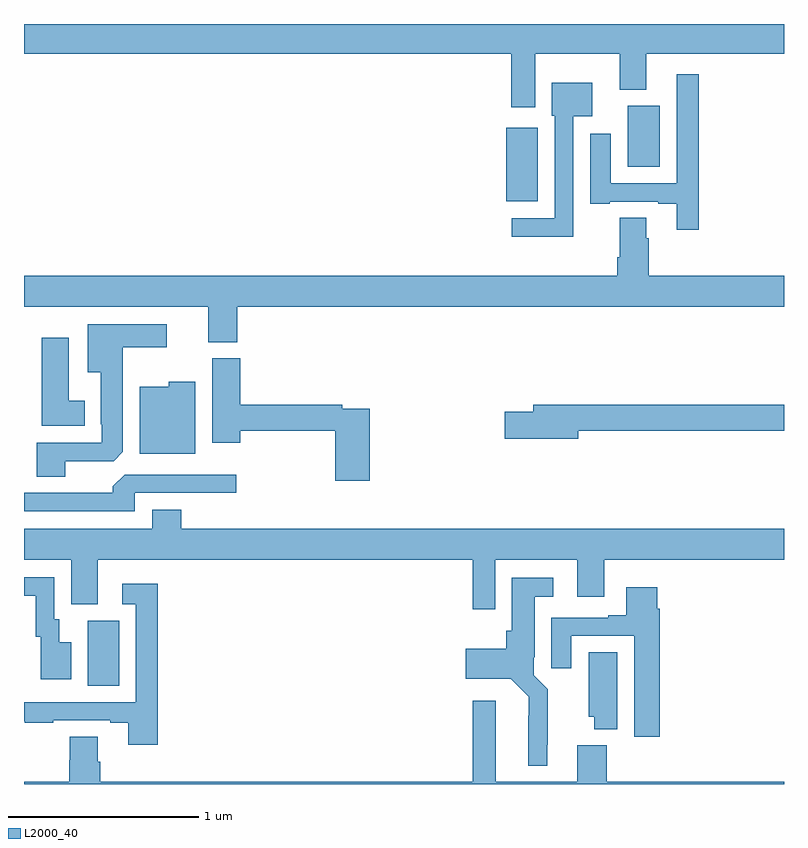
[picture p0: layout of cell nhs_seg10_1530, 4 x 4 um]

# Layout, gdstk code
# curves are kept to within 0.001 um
import gdstk
lib = gdstk.Library(unit=1e-6, precision=1e-09)
def R(c, l, rs):  # rectangles x0, y0, x1, y1
    for r in rs: c.add(gdstk.rectangle(r[:2], r[2:], *l))
def P(c, l, *ps):  # polygons
    for p in ps: c.add(gdstk.Polygon(p, *l))
L2000_40 = (2000, 40)

nhs_seg10_1530 = lib.new_cell('nhs_seg10_1530')
R(nhs_seg10_1530, L2000_40, [(191.336,1269.016,191.5,1269.36), (193.538,1271.567,193.705,1271.953), (194.177,1271.75,194.347,1272.07)])
P(nhs_seg10_1530, L2000_40, [(191,1272.344),(193.565,1272.344),(193.565,1272.063),(193.69,1272.063),(193.69,1272.344),(194.135,1272.344),(194.135,1272.155),(194.275,1272.155),(194.275,1272.344),(195,1272.344),(195,1272.5),(191,1272.5)],
  [(194.552,1272.235),(194.436,1272.235),(194.436,1271.661),(194.089,1271.661),(194.089,1271.923),(193.979,1271.923),(193.979,1271.553),(194.083,1271.553),(194.083,1271.565),(194.339,1271.565),(194.339,1271.553),(194.435,1271.553),(194.435,1271.418),(194.552,1271.418)],
  [(193.89,1272.014),(193.99,1272.014),(193.99,1272.19),(193.778,1272.19),(193.778,1272.018),(193.794,1272.018),(193.794,1271.478),(193.566,1271.478),(193.566,1271.381),(193.89,1271.381)],
  [(192.122,1271.012),(195,1271.012),(195,1271.176),(194.288,1271.176),(194.288,1271.372),(194.275,1271.372),(194.275,1271.48),(194.135,1271.48),(194.135,1271.272),(194.123,1271.272),(194.123,1271.176),(191,1271.176),(191,1271.012),(191.969,1271.012),(191.969,1270.825),(192.122,1270.825)],
  [(191.218,1270.2),(191.472,1270.2),(191.521,1270.249),(191.521,1270.799),(191.752,1270.799),(191.752,1270.921),(191.336,1270.921),(191.336,1270.667),(191.405,1270.667),(191.405,1270.393),(191.409,1270.393),(191.409,1270.296),(191.066,1270.296),(191.066,1270.117),(191.218,1270.117)],
  [(191.32,1270.516),(191.236,1270.516),(191.236,1270.849),(191.093,1270.849),(191.093,1270.385),(191.32,1270.385)],
  [(192.821,1270.476),(192.674,1270.476),(192.674,1270.496),(192.137,1270.496),(192.137,1270.74),(191.99,1270.74),(191.99,1270.296),(192.137,1270.296),(192.137,1270.36),(192.638,1270.36),(192.638,1270.095),(192.821,1270.095)],
  [(191.902,1270.618),(191.763,1270.618),(191.763,1270.591),(191.609,1270.591),(191.609,1270.238),(191.902,1270.238)],
  [(193.918,1270.36),(195,1270.36),(195,1270.496),(193.679,1270.496),(193.679,1270.46),(193.53,1270.46),(193.53,1270.318),(193.918,1270.318)],
  [(191.583,1270.032),(192.118,1270.032),(192.118,1270.128),(191.529,1270.128),(191.468,1270.066),(191.468,1270.032),(191,1270.032),(191,1269.936),(191.583,1269.936)],
  [(193.479,1269.68),(193.913,1269.68),(193.913,1269.486),(194.053,1269.486),(194.053,1269.68),(195,1269.68),(195,1269.844),(191.828,1269.844),(191.828,1269.943),(191.675,1269.943),(191.675,1269.844),(191,1269.844),(191,1269.68),(191.249,1269.68),(191.249,1269.445),(191.389,1269.445),(191.389,1269.68),(193.363,1269.68),(193.363,1269.42),(193.479,1269.42)],
  [(191.248,1269.247),(191.185,1269.247),(191.185,1269.366),(191.16,1269.366),(191.16,1269.588),(191,1269.588),(191,1269.492),(191.063,1269.492),(191.063,1269.276),(191.087,1269.276),(191.087,1269.051),(191.248,1269.051)],
  [(193.753,1268.707),(193.757,1268.707),(193.757,1268.998),(193.683,1269.072),(193.683,1269.166),(193.687,1269.166),(193.687,1269.485),(193.786,1269.485),(193.786,1269.586),(193.568,1269.586),(193.568,1269.306),(193.538,1269.306),(193.538,1269.211),(193.326,1269.211),(193.326,1269.053),(193.563,1269.053),(193.656,1268.96),(193.655,1268.597),(193.753,1268.597)],
  [(191.705,1269.553),(191.517,1269.553),(191.517,1269.447),(191.589,1269.447),(191.589,1268.931),(191,1268.931),(191,1268.829),(191.005,1268.829),(191.005,1268.823),(191.153,1268.823),(191.153,1268.835),(191.453,1268.835),(191.453,1268.823),(191.549,1268.823),(191.549,1268.706),(191.705,1268.706)],
  [(194.345,1269.422),(194.332,1269.422),(194.332,1269.535),(194.171,1269.535),(194.171,1269.388),(194.075,1269.388),(194.075,1269.375),(193.775,1269.375),(193.775,1269.108),(193.879,1269.108),(193.879,1269.279),(194.213,1269.279),(194.213,1268.748),(194.345,1268.748)],
  [(194.122,1269.194),(193.973,1269.194),(193.973,1268.853),(194,1268.853),(194,1268.789),(194.122,1268.789)],
  [(195,1268.512),(194.066,1268.512),(194.066,1268.704),(193.913,1268.704),(193.913,1268.512),(193.483,1268.512),(193.483,1268.938),(193.361,1268.938),(193.361,1268.512),(191.402,1268.512),(191.402,1268.618),(191.389,1268.618),(191.389,1268.75),(191.242,1268.75),(191.242,1268.625),(191.237,1268.625),(191.237,1268.512),(191,1268.512),(191,1268.5),(195,1268.5)])

lib.write_gds('nhs_seg10_1530.gds')
